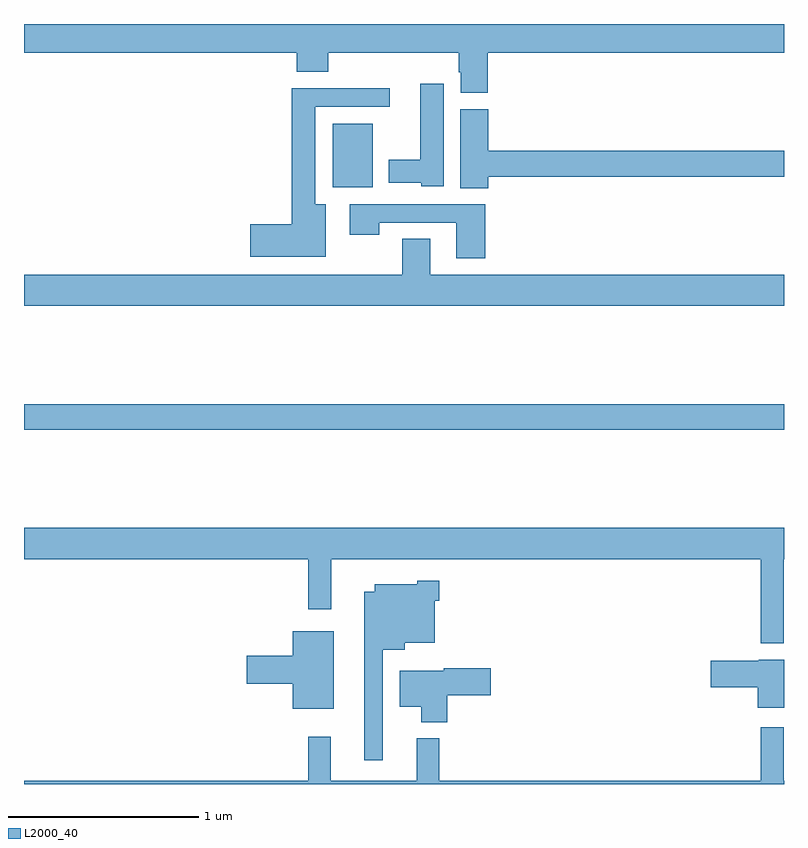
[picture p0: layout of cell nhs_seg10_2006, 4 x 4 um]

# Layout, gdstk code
import gdstk
lib = gdstk.Library(unit=1e-6, precision=1e-09)
def R(c, l, rs):  # rectangles x0, y0, x1, y1
    for r in rs: c.add(gdstk.rectangle(r[:2], r[2:], *l))
def P(c, l, *ps):  # polygons
    for p in ps: c.add(gdstk.Polygon(p, *l))
L2000_40 = (2000, 40)

nhs_seg10_2006 = lib.new_cell('nhs_seg10_2006')
R(nhs_seg10_2006, L2000_40, [(217,1266.364,221,1266.5), (218.624,1267.64,218.836,1267.975)])
P(nhs_seg10_2006, L2000_40, [(219.44,1268.348),(221,1268.348),(221,1268.5),(217,1268.5),(217,1268.348),(218.435,1268.348),(218.435,1268.249),(218.6,1268.249),(218.6,1268.348),(219.287,1268.348),(219.287,1268.247),(219.299,1268.247),(219.299,1268.137),(219.44,1268.137)],
  [(219.208,1268.185),(219.086,1268.185),(219.086,1267.786),(218.921,1267.786),(218.921,1267.664),(219.09,1267.664),(219.09,1267.646),(219.208,1267.646)],
  [(218.587,1267.552),(218.533,1267.552),(218.533,1268.064),(218.926,1268.064),(218.926,1268.162),(218.408,1268.162),(218.408,1267.445),(218.19,1267.445),(218.19,1267.274),(218.587,1267.274)],
  [(219.443,1267.696),(221,1267.696),(221,1267.832),(219.443,1267.832),(219.443,1268.052),(219.296,1268.052),(219.296,1267.636),(219.443,1267.636)],
  [(219.428,1267.551),(218.715,1267.551),(218.715,1267.392),(218.871,1267.392),(218.871,1267.455),(219.275,1267.455),(219.275,1267.266),(219.428,1267.266)],
  [(221,1267.18),(219.139,1267.18),(219.139,1267.37),(218.992,1267.37),(218.992,1267.18),(217,1267.18),(217,1267.016),(221,1267.016)],
  [(220.999,1265.684),(221,1265.684),(221,1265.848),(217,1265.848),(217,1265.684),(218.497,1265.684),(218.497,1265.421),(218.616,1265.421),(218.616,1265.684),(220.878,1265.684),(220.878,1265.24),(220.999,1265.24)],
  [(218.889,1265.207),(219.004,1265.207),(219.004,1265.243),(219.163,1265.243),(219.163,1265.465),(219.185,1265.465),(219.185,1265.569),(219.069,1265.569),(219.069,1265.551),(218.846,1265.551),(218.846,1265.512),(218.792,1265.512),(218.792,1264.626),(218.889,1264.626)],
  [(218.629,1265.305),(218.414,1265.305),(218.414,1265.174),(218.172,1265.174),(218.172,1265.027),(218.414,1265.027),(218.414,1264.895),(218.629,1264.895)],
  [(221,1265.155),(220.866,1265.155),(220.866,1265.15),(220.614,1265.15),(220.614,1265.008),(220.862,1265.008),(220.862,1264.901),(221,1264.901)],
  [(219.227,1264.966),(219.457,1264.966),(219.457,1265.108),(219.21,1265.108),(219.21,1265.095),(218.978,1265.095),(218.978,1264.907),(219.092,1264.907),(219.092,1264.826),(219.227,1264.826)],
  [(221,1264.516),(220.999,1264.516),(220.999,1264.798),(220.878,1264.798),(220.878,1264.516),(219.185,1264.516),(219.185,1264.741),(219.068,1264.741),(219.068,1264.516),(218.615,1264.516),(218.615,1264.75),(218.497,1264.75),(218.497,1264.516),(217,1264.516),(217,1264.5),(221,1264.5)])

lib.write_gds('nhs_seg10_2006.gds')
